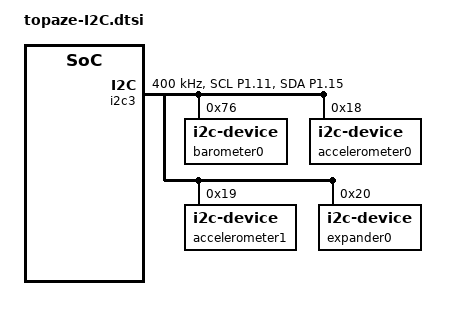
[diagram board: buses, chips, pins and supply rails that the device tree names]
/* ============================================================
 * This file is the overlay DTS for topaze that define the I2C 
 * devices
 *
 * We describe here the peripherals configuration, and so on...
 *
 * l.heywang
 * 21/02/2025
 *
 * ============================================================
 */

// ============================================================
// I2C and PINCTRL
// ============================================================
// Enable I2C and configure it
&i2c3 {
    status = "okay";
    clock-frequency = <400000>;
    pinctrl-0 = <&i2c3_dk>;
    pinctrl-names = "default";
};

// We're using here default pins for UART0 and 1, to match the DK
// Sensors are bound to the UART 2 and 3
&pinctrl {
    i2c3_topaze: i2c3_topaze {
        group1  {
            psels = <NRF_PSEL(TWIM_SCL, 0, 12)>,
                    <NRF_PSEL(TWIM_SDA, 0, 13)>;
		};
	};
    i2c3_dk: i2c3_dk {
        group1  {
            psels = <NRF_PSEL(TWIM_SCL, 1, 11)>,
                    <NRF_PSEL(TWIM_SDA, 1, 15)>;
		};
	};
};

// Register the devices.
&i2c3 {

    barometer0: barometer0@76{
        compatible = "i2c-device";
        status = "okay";
        reg = <0x76>;
    };

    accelerometer0: accelerometer0@18{
        compatible = "i2c-device";
        status = "okay";
        reg = <0x18>;
    };

    accelerometer1: accelerometer1@19{
        compatible = "i2c-device";
        status = "okay";
        reg = <0x19>;
    };

    expander0: expander0@20{
        compatible = "i2c-device";
        status = "okay";
        reg = <0x20>;
    };
};

// And aliases
// We only add aliases for real devices, and not only the "possibles" ones.

/ {
    aliases {
        i2c3 = &i2c3;
    };
};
